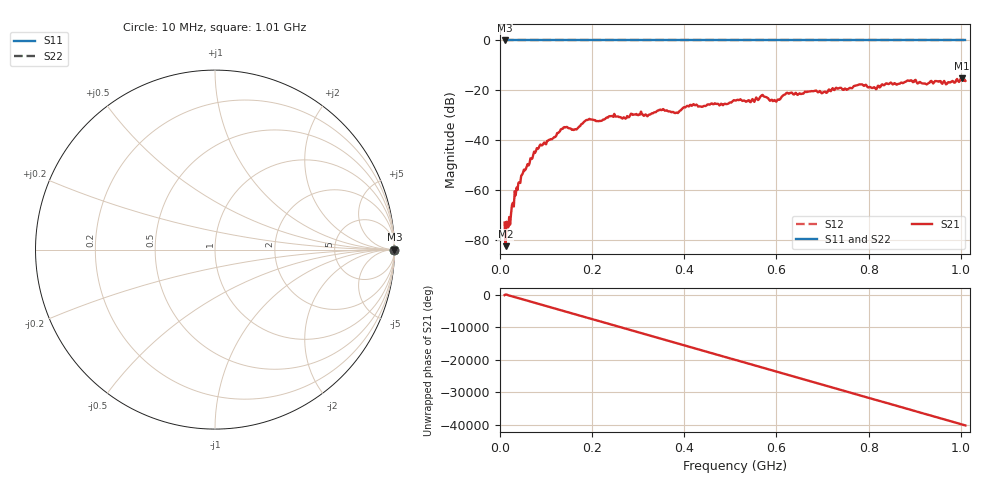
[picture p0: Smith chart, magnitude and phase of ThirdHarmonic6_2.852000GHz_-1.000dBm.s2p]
! 8/17/2025 7:43:35 AM
! C:\ANRITSUVNA\TEMP\TEMP.S2P
! CHANNEL.1
! TR.MEASUREMENT
! RAW.DATA
! RF.CORRECTION.OFF
! AVERAGING.OFF
! IF.BANDWIDTH: 5KHZ
! SWEEPTYPE:  FREQ.SWEEP(Linear)
! Reference Plane Port Info
! PORT:  PORT1  PORT2
! DISTANCE:  0  m  0  m
! TIME:  0  s  0  s
! PHASE.OFFSET:  0  deg.  0  deg.
! LOSS:  0  dB  0  dB
! REF.LOSS:  0  dB  0  dB
! REF.FREQ:  0  Hz  0  Hz
! Power Info
! POWER:  -20  dBm  -20  dBm
! EFF.POWER:  -20  dBm  -20  dBm
! SOURCE.ATTEN:  0  dB  0  dB
! TEST.ATTEN:  0  dB  0  dB
# GHZ S RI R 50.0
! FREQ.GHZ  S11RE  S11IM  S21RE  S21IM  S12RE  S12IM  S22RE  S22IM
!; PortSelection: Port_12
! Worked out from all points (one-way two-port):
!   501 points, 10 MHz to 1.01 GHz, reference 50 ohm
!   highest |S21| = -15.18 dB at 1.002 GHz (marker M1); lowest = -82.7 dB at 12 MHz (marker M2)
!   lowest |S11| = 0.0 dB at 10 MHz (marker M3)
!   |S11| at or under -10 dB: nowhere
!   |S22| runs from 0.0 to 0.0 dB; largest |S21 - S12| = 1.2
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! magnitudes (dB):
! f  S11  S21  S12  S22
! 10 MHz  0.0  -73.1  0.0  0.0
! 12 MHz  0.0  -82.7  0.0  0.0
! 20 MHz  0.0  -70.9  0.0  0.0
! 36 MHz  0.0  -59.1  0.0  0.0
! 50 MHz  0.0  -53.1  0.0  0.0
! 76 MHz  0.0  -45.2  0.0  0.0
! 136 MHz  0.0  -35.5  0.0  0.0
! 162 MHz  0.0  -35.8  0.0  0.0
! 178 MHz  0.0  -33.6  0.0  0.0
! 344 MHz  0.0  -28.2  0.0  0.0
! 382 MHz  0.0  -29.1  0.0  0.0
! 416 MHz  0.0  -26.3  0.0  0.0
! 510 MHz  0.0  -24.1  0.0  0.0
! 548 MHz  0.0  -23.5  0.0  0.0
! 570 MHz  0.0  -21.9  0.0  0.0
! 596 MHz  0.0  -23.9  0.0  0.0
! 622 MHz  0.0  -21.1  0.0  0.0
! 678 MHz  0.0  -20.4  0.0  0.0
! 814 MHz  0.0  -19.1  0.0  0.0
! 844 MHz  0.0  -17.5  0.0  0.0
! 1.002 GHz  0.0  -15.2  0.0  0.0
! 1.01 GHz  0.0  -16.2  0.0  0.0
